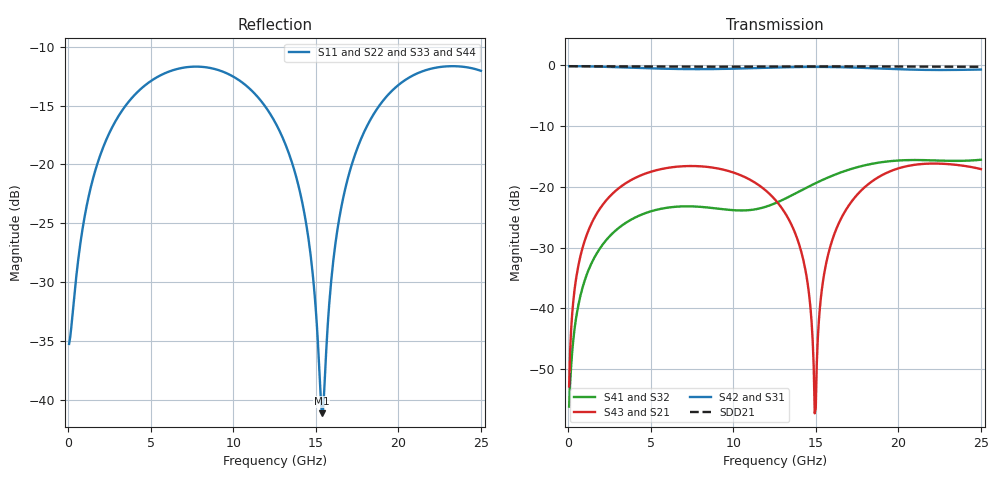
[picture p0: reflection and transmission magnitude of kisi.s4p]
! thru_BV_ts_m2_per0_q070f25s_in: 2×thru F.Cu, 6 mm, pair
! stackup: as the board case
! ports: 1 near, 2 near, 3 far, 4 far
! kisi-fdtd, conformal, dfine 0.07 mm, 155925 cells
# Hz S RI R 50
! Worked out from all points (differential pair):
!   400 points, 62.5 MHz to 25 GHz, reference 50 ohm
!   strongest paths, dB at 62.5 MHz, 6.312 GHz, 12.56 GHz, 18.81 GHz, 25 GHz:
!     S42: -0.1, -0.6, -0.4, -0.5, -0.7
!     S31: -0.1, -0.6, -0.4, -0.5, -0.7
!     S43: -52.8, -16.8, -22.2, -18.4, -17.1
!     S21: -52.8, -16.8, -22.2, -18.4, -17.1
!     S41: -56.2, -23.3, -22.7, -16.0, -15.5
!     S32: -56.2, -23.3, -22.7, -16.0, -15.5
!   taken as a pair (ports 2,1 in; 4,3 out), SDD21 dB: -0.1, -0.2, -0.2, -0.2, -0.2
!   lowest |S11| = -41.2 dB at 15.38 GHz (marker M1), VSWR 1.02, Z = 50.9 - j0.139 ohm
!   |S11| at or under -10 dB: start of sweep to end of sweep
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6.25e7  -0.0168 0.00388  0.000169 0.00227  0.984 -0.0132  0.00111 -0.00109
        0.000169 0.00227  -0.0168 0.00388  0.00111 -0.00109  0.984 -0.0132
        0.984 -0.0132  0.00111 -0.00109  -0.0168 0.00388  0.000169 0.00227
        0.00111 -0.00109  0.984 -0.0132  0.000169 0.00227  -0.0168 0.00388
1.0625e9  -0.00149 0.0632  0.0101 0.0366  0.956 -0.2209  -0.00528 -0.0171
          0.0101 0.0366  -0.00149 0.0632  -0.00528 -0.0171  0.956 -0.2209
          0.956 -0.2209  -0.00528 -0.0171  -0.00149 0.0632  0.0101 0.0366
          -0.00528 -0.0171  0.956 -0.2209  0.0101 0.0366  -0.00149 0.0632
4.5625e9  0.1699 0.1304  0.1102 0.0628  0.553 -0.7709  -0.0594 -0.00822
          0.1102 0.0628  0.1699 0.1304  -0.0594 -0.00822  0.553 -0.7709
          0.553 -0.7709  -0.0594 -0.00822  0.1699 0.1304  0.1102 0.0628
          -0.0594 -0.00822  0.553 -0.7709  0.1102 0.0628  0.1699 0.1304
1.29375e10  0.0722 -0.1113  0.0281 -0.0608  -0.8243 -0.4967  -0.0288 0.0719
            0.0281 -0.0608  0.0722 -0.1113  -0.0288 0.0719  -0.8243 -0.4967
            -0.8243 -0.4967  -0.0288 0.0719  0.0722 -0.1113  0.0281 -0.0608
            -0.0288 0.0719  -0.8243 -0.4967  0.0281 -0.0608  0.0722 -0.1113
1.49375e10  0.0107 -0.0254  0.000899 -0.00103  -0.9634 -0.1159  -0.00896 0.106
            0.000899 -0.00103  0.0107 -0.0254  -0.00896 0.106  -0.9634 -0.1159
            -0.9634 -0.1159  -0.00896 0.106  0.0107 -0.0254  0.000899 -0.00103
            -0.00896 0.106  -0.9634 -0.1159  0.000899 -0.00103  0.0107 -0.0254
1.5375e10  0.00863 -0.00137  0.00292 0.0142  -0.9696 -0.0256  0.000568 0.1135
           0.00292 0.0142  0.00863 -0.00137  0.000568 0.1135  -0.9696 -0.0256
           -0.9696 -0.0256  0.000568 0.1135  0.00863 -0.00137  0.00292 0.0142
           0.000568 0.1135  -0.9696 -0.0256  0.00292 0.0142  0.00863 -0.00137
2.5e10  0.2298 -0.0987  0.113 -0.0826  0.3093 0.8698  0.1417 -0.0888
        0.113 -0.0826  0.2298 -0.0987  0.1417 -0.0888  0.3093 0.8698
        0.3093 0.8698  0.1417 -0.0888  0.2298 -0.0987  0.113 -0.0826
        0.1417 -0.0888  0.3093 0.8698  0.113 -0.0826  0.2298 -0.0987
